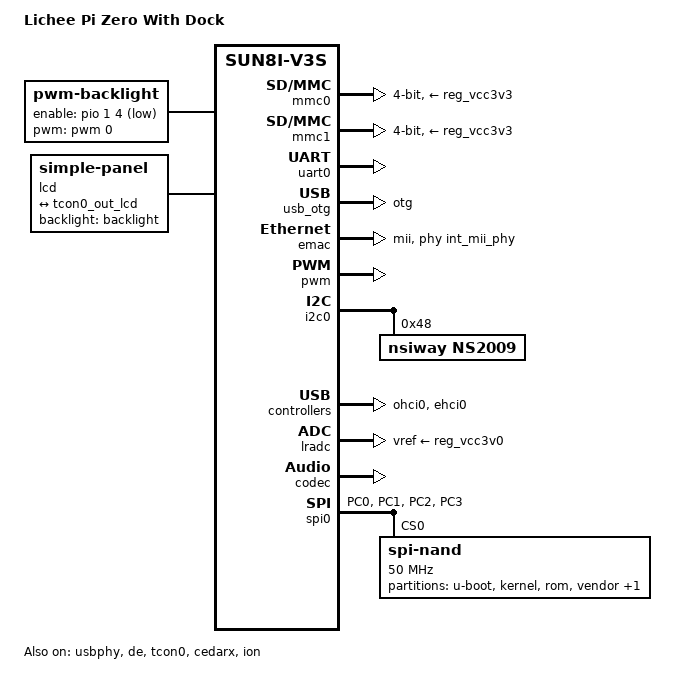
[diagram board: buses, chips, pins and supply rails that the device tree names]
/*
 * Copyright (C) 2016 Icenowy Zheng <icenowy@aosc.xyz>
 *
 * This file is dual-licensed: you can use it either under the terms
 * of the GPL or the X11 license, at your option. Note that this dual
 * licensing only applies to this file, and not this project as a
 * whole.
 *
 *  a) This file is free software; you can redistribute it and/or
 *     modify it under the terms of the GNU General Public License as
 *     published by the Free Software Foundation; either version 2 of the
 *     License, or (at your option) any later version.
 *
 *     This file is distributed in the hope that it will be useful,
 *     but WITHOUT ANY WARRANTY; without even the implied warranty of
 *     MERCHANTABILITY or FITNESS FOR A PARTICULAR PURPOSE.  See the
 *     GNU General Public License for more details.
 *
 * Or, alternatively,
 *
 *  b) Permission is hereby granted, free of charge, to any person
 *     obtaining a copy of this software and associated documentation
 *     files (the "Software"), to deal in the Software without
 *     restriction, including without limitation the rights to use,
 *     copy, modify, merge, publish, distribute, sublicense, and/or
 *     sell copies of the Software, and to permit persons to whom the
 *     Software is furnished to do so, subject to the following
 *     conditions:
 *
 *     The above copyright notice and this permission notice shall be
 *     included in all copies or substantial portions of the Software.
 *
 *     THE SOFTWARE IS PROVIDED "AS IS", WITHOUT WARRANTY OF ANY KIND,
 *     EXPRESS OR IMPLIED, INCLUDING BUT NOT LIMITED TO THE WARRANTIES
 *     OF MERCHANTABILITY, FITNESS FOR A PARTICULAR PURPOSE AND
 *     NONINFRINGEMENT. IN NO EVENT SHALL THE AUTHORS OR COPYRIGHT
 *     HOLDERS BE LIABLE FOR ANY CLAIM, DAMAGES OR OTHER LIABILITY,
 *     WHETHER IN AN ACTION OF CONTRACT, TORT OR OTHERWISE, ARISING
 *     FROM, OUT OF OR IN CONNECTION WITH THE SOFTWARE OR THE USE OR
 *     OTHER DEALINGS IN THE SOFTWARE.
 */

/dts-v1/;
#include "sun8i-v3s.dtsi"
#include "sunxi-common-regulators.dtsi"
#include <dt-bindings/input/input.h>
#include <dt-bindings/pwm/pwm.h>

/ {
    model = "Lichee Pi Zero With Dock";
    compatible = "licheepi,licheepi-zero-lcd", "licheepi,licheepi-zero", "allwinner,sun8i-v3s";

    aliases {
        serial0 = &uart0;
        ethernet0 = &emac;
        display0 = &panel;
    };

    chosen {
        stdout-path = "serial0:115200n8";
    };

    leds {
        /* The LEDs use PG0~2 pins, which conflict with MMC1 */
        status = "disabled";
    };

    backlight: backlight {
        compatible = "pwm-backlight";
        enable-gpios = <&pio 1 4 GPIO_ACTIVE_LOW>; /* PB4 PWM0 */
		pwms = <&pwm 0 1000000 PWM_POLARITY_INVERTED>;
		brightness-levels = <0 30 40 50 60 70 100>;
		default-brightness-level = <6>;
		status = "okay";
    };

    panel: panel {
        compatible = "simple-panel","ampire,am-480272h3tmqw-t01h";
        #address-cells = <1>;
        #size-cells = <0>;

        label = "lcd";
        pinctrl-names = "default";
        
        // power-supply = <&reg_vcc3v3>;
        // enable-gpios = <&axp_gpio 0 GPIO_ACTIVE_HIGH>; /* AXP GPIO0 */
        backlight = <&backlight>;

        port@0 {
            panel_input: endpoint {
                remote-endpoint = <&tcon0_out_lcd>;
            };
        };
    };
};

&mmc0 {
    broken-cd;
    bus-width = <4>;
    vmmc-supply = <&reg_vcc3v3>;
    status = "okay";
};

&mmc1 {
    broken-cd;
    bus-width = <4>;
    vmmc-supply = <&reg_vcc3v3>;
    status = "okay";
};


&uart0 {
    pinctrl-0 = <&uart0_pb_pins>;
    pinctrl-names = "default";
    status = "okay";
};

&usb_otg {
    dr_mode = "otg";
    status = "okay";
};

&usbphy {
    usb0_id_det-gpios = <&pio 5 6 GPIO_ACTIVE_HIGH>; /* USB_ID PF6 */
    status = "okay";
};

&emac {
    phy-handle = <&int_mii_phy>;
    phy-mode = "mii";
    allwinner,leds-active-low;
	local-mac-address = [a4 51 29 00 00 08];
    status = "okay";
};

&pwm {
    status = "okay";
};

&de {
    status = "okay";
};

&i2c0 {
	status = "okay";

	ns2009: ns2009@48 {
		compatible = "nsiway,ns2009";
		reg = <0x48>;
	};
};

&tcon0 {
    pinctrl-names = "default";
    pinctrl-0 = <&lcd_rgb666_pins>;
    status = "okay";
};

&tcon0_out {
    tcon0_out_lcd: endpoint@0 {
        reg = <0>;
        remote-endpoint = <&panel_input>;
    };
};

&ohci0 {
	status = "okay";
};

&ehci0 {
	status = "okay";
};

&lradc {
	vref-supply = <&reg_vcc3v0>;
	status = "okay";

	button-200 {
		label = "Volume Up";
		linux,code = <KEY_VOLUMEUP>;
		channel = <0>;
		voltage = <200000>;
	};

	button-400 {
		label = "Volume Down";
		linux,code = <KEY_VOLUMEDOWN>;
		channel = <0>;
		voltage = <400000>;
	};

	button-600 {
		label = "Select";
		linux,code = <KEY_SELECT>;
		channel = <0>;
		voltage = <600000>;
	};

	button-800 {
		label = "Start";
		linux,code = <KEY_OK>;
		channel = <0>;
		voltage = <800000>;
	};
};

&codec {
	allwinner,audio-routing =
		"Headphone", "HP",
		"Headphone", "HPCOM",
		"MIC1", "Mic",
		"Mic",  "HBIAS";
	status = "okay";
};

&cedarx {
    status = "okay";
};

&ion {
    status = "okay";
};

&pio {
    spi0_pins: spi0-pins {
        pins = "PC0", "PC1", "PC2", "PC3";
        function = "spi0";
    };
};

&spi0 {
    pinctrl-names = "default";
    pinctrl-0 = <&spi0_pins>;
    status = "okay";

	spi-nor@0 {
		#address-cells = <1>;
		#size-cells = <1>;
		compatible = "winbond,w25q128", "jedec,spi-nor";
		reg = <0>;
		spi-max-frequency = <50000000>;
		status = "disabled";

		partitions {
			compatible = "fixed-partitions";
			#address-cells = <1>;
			#size-cells = <1>;

			partition@0 {
				label = "u-boot";
				reg = <0x000000 0x70000>;
				read-only;
			};

			partition@1 {
				label = "kernel";
				reg = <0x70000 0x590000>;
				read-only;
			};

			partition@2 {
				label = "rom";
				reg = <0x600000 0x700000>;
				read-only;
			};

			partition@3 {
				label = "overlay";
				reg = <0xd00000 0x300000>;
			};
		};
	};

	spi-nand@0 {
		#address-cells = <1>;
		#size-cells = <1>;
		compatible = "spi-nand";
		reg = <0>;
		spi-max-frequency = <50000000>;

		partitions {
			compatible = "fixed-partitions";
			#address-cells = <1>;
			#size-cells = <1>;

			partition@0 {
				label = "u-boot";
				reg = <0x000000 0x100000>;
				read-only;
			};

			partition@1 {
				label = "kernel";
				reg = <0x100000 0x500000>;
				read-only;
			};

			partition@2 {
				label = "rom";
				reg = <0x600000 0x2a00000>;
				read-only;
			};

			partition@3 {
				label = "vendor";
				reg = <0x3000000 0x1000000>;
			};

			partition@4 {
				label = "overlay";
				reg = <0x4000000 0x3000000>;
			};
		};
	};
};
